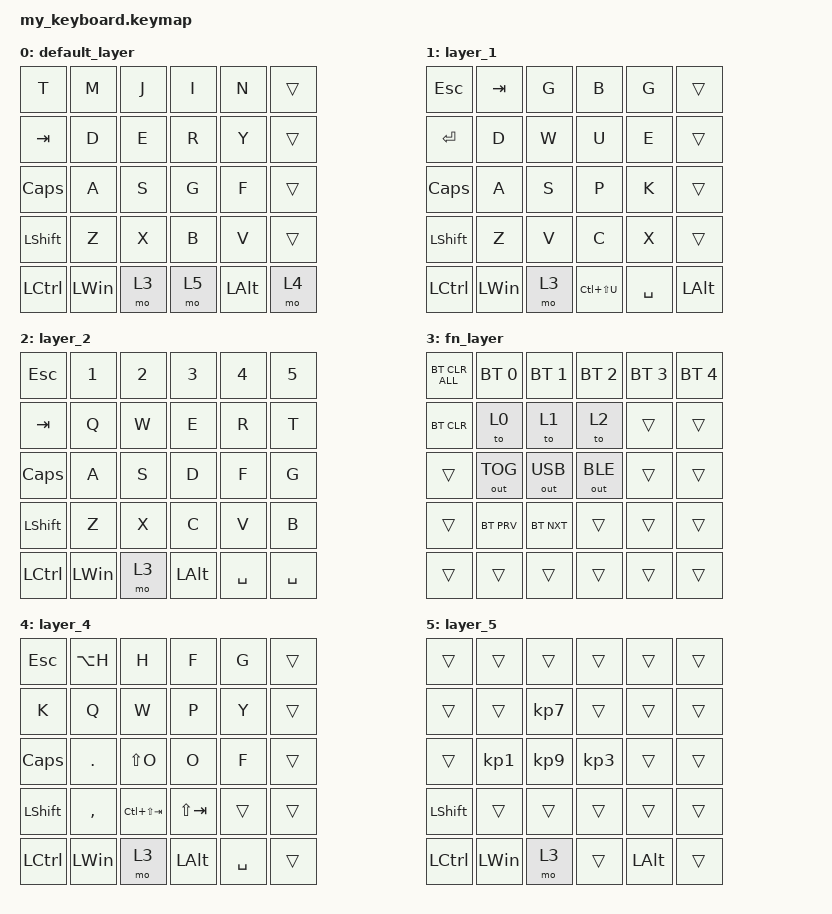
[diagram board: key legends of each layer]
#include <behaviors.dtsi>
#include <dt-bindings/zmk/keys.h>
#include <dt-bindings/zmk/bt.h>
#include <dt-bindings/zmk/outputs.h>

/ {
    keymap {
        compatible = "zmk,keymap";

        /* Layer 0 (デフォルトベース - LED2: 消灯) */
        default_layer {
            bindings = <
                &kp T     &kp M    &kp J    &kp I    &kp N    &trans
                &kp TAB   &kp D    &kp E    &kp R    &kp Y    &trans
                &kp CAPS  &kp A    &kp S    &kp G    &kp F    &trans
                &kp LSHFT &kp Z    &kp X    &kp B    &kp V    &trans
                &kp LCTRL &kp LWIN &mo 3    &mo 5    &kp LALT &mo 4
            >;
        };

        /* Layer 1 (ベース2 - LED2: 赤点灯) */
        layer_1 {
            bindings = <
                &kp ESC   &kp TAB  &kp G    &kp B    &kp G    &trans
                &kp ENTER &kp D    &kp W    &kp U    &kp E    &trans
                &kp CAPS  &kp A    &kp S    &kp P    &kp K    &trans
                &kp LSHFT &kp Z    &kp V    &kp C    &kp X    &trans
                &kp LCTRL &kp LWIN &mo 3    &kp LC(LS(U))    &kp SPACE &kp LALT
            >;
        };

        /* Layer 2 (ベース3 - LED2: 緑点灯) */
        layer_2 {
            bindings = <
                &kp ESC   &kp N1   &kp N2   &kp N3   &kp N4   &kp N5
                &kp TAB   &kp Q    &kp W    &kp E    &kp R    &kp T
                &kp CAPS  &kp A    &kp S    &kp D    &kp F    &kp G
                &kp LSHFT &kp Z    &kp X    &kp C    &kp V    &kp B
                &kp LCTRL &kp LWIN &mo 3    &kp LALT &kp SPACE &kp SPACE
            >;
        };

        /* Layer 3 (FNレイヤー - LED2: 青点灯) */
        fn_layer {
            bindings = <
                &bt BT_CLR_ALL    &bt BT_SEL 0    &bt BT_SEL 1    &bt BT_SEL 2    &bt BT_SEL 3   &bt BT_SEL 4
                &bt BT_CLR    &to 0   &to 1   &to 2   &trans   &trans
                &trans    &out OUT_TOG   &out OUT_USB   &out OUT_BLE   &trans   &trans
                &trans    &bt BT_PRV   &bt BT_NXT   &trans   &trans   &trans
                &trans    &trans   &trans   &trans   &trans   &trans
            >;
        };

        /* Layer 4 (LED2: 黄点灯) */
        layer_4 {
            bindings = <
                &kp ESC   &kp LA(H) &kp H   &kp F    &kp G    &trans
                &kp K     &kp Q    &kp W    &kp P    &kp Y    &trans
                &kp CAPS  &kp DOT  &kp LS(O) &kp O   &kp F    &trans
                &kp LSHFT &kp COMMA &kp LC(LS(TAB)) &kp LS(TAB) &trans &trans
                &kp LCTRL &kp LWIN &mo 3    &kp LALT &kp SPACE &trans
            >;
        };

        /* Layer 5 (LED2: 紫点灯) */
        layer_5 {
            bindings = <
                &trans    &trans   &trans   &trans   &trans   &trans
                &trans    &trans   &kp KP_N7 &trans  &trans   &trans
                &trans    &kp KP_N1 &kp KP_N9 &kp KP_N3 &trans &trans
                &kp LSHFT &trans   &trans   &trans   &trans   &trans
                &kp LCTRL &kp LWIN &mo 3    &trans   &kp LALT &trans
            >;
        };
    };
};
